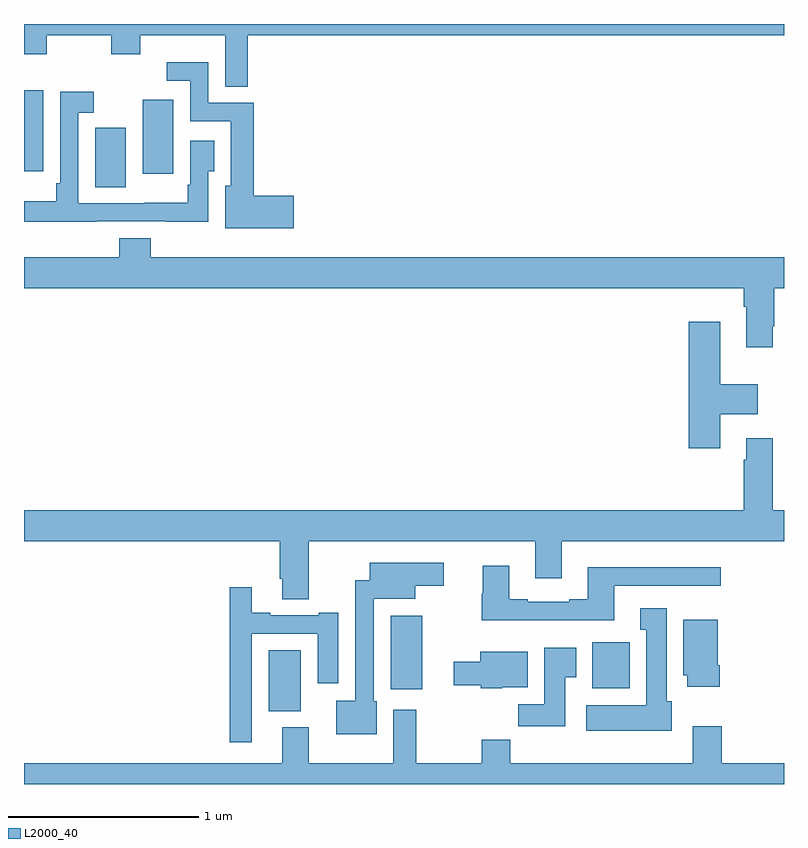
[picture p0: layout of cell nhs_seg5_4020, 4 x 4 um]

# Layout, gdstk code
import gdstk
lib = gdstk.Library(unit=1e-6, precision=1e-09)
def R(c, l, rs):  # rectangles x0, y0, x1, y1
    for r in rs: c.add(gdstk.rectangle(r[:2], r[2:], *l))
def P(c, l, *ps):  # polygons
    for p in ps: c.add(gdstk.Polygon(p, *l))
L2000_40 = (2000, 40)

nhs_seg5_4020 = lib.new_cell('nhs_seg5_4020')
R(nhs_seg5_4020, L2000_40, [(348.287,873.182,348.457,873.502), (348.929,873.299,349.096,873.685), (349.991,873.302,350.188,873.544), (347.375,875.941,347.536,876.252), (347.624,876.011,347.785,876.4), (347,876.024,347.101,876.451)])
P(nhs_seg5_4020, L2000_40, [(347,876.641),(347.121,876.641),(347.121,876.74),(347.458,876.74),(347.458,876.641),(347.613,876.641),(347.613,876.74),(348.059,876.74),(348.059,876.469),(348.178,876.469),(348.178,876.74),(351,876.74),(351,876.799),(347,876.799)],
  [(348.421,875.894),(348.208,875.894),(348.208,876.384),(347.97,876.384),(347.97,876.598),(347.751,876.598),(347.751,876.501),(347.874,876.501),(347.874,876.288),(348.089,876.288),(348.089,875.947),(348.059,875.947),(348.059,875.723),(348.421,875.723)],
  [(347.383,875.76),(347.749,875.76),(347.749,875.759),(347.97,875.759),(347.97,876.025),(348.001,876.025),(348.001,876.184),(347.874,876.184),(347.874,875.953),(347.862,875.953),(347.862,875.857),(347.632,875.857),(347.632,875.856),(347.286,875.856),(347.286,876.333),(347.368,876.333),(347.368,876.442),(347.19,876.442),(347.19,875.962),(347.17,875.962),(347.17,875.866),(347,875.866),(347,875.759),(347.383,875.759)],
  [(350.941,875.209),(350.949,875.209),(350.949,875.408),(351,875.408),(351,875.572),(347.666,875.572),(347.666,875.671),(347.501,875.671),(347.501,875.572),(347,875.572),(347,875.408),(350.789,875.408),(350.789,875.312),(350.801,875.312),(350.801,875.097),(350.941,875.097)],
  [(350.665,874.745),(350.863,874.745),(350.863,874.903),(350.665,874.903),(350.665,875.233),(350.498,875.233),(350.498,874.566),(350.665,874.566)],
  [(347,874.076),(348.347,874.076),(348.347,873.88),(348.359,873.88),(348.359,873.772),(348.499,873.772),(348.499,874.076),(349.691,874.076),(349.691,873.882),(349.831,873.882),(349.831,874.076),(351,874.076),(351,874.24),(350.941,874.24),(350.941,874.618),(350.801,874.618),(350.801,874.505),(350.789,874.505),(350.789,874.24),(347,874.24)],
  [(348.856,873.234),(348.84,873.234),(348.84,873.773),(349.06,873.773),(349.06,873.842),(349.21,873.842),(349.21,873.964),(348.821,873.964),(348.821,873.872),(348.744,873.872),(348.744,873.238),(348.644,873.238),(348.644,873.062),(348.856,873.062)],
  [(350.107,873.843),(350.668,873.843),(350.668,873.94),(349.967,873.94),(349.967,873.772),(349.871,873.772),(349.871,873.759),(349.651,873.759),(349.651,873.772),(349.555,873.772),(349.555,873.949),(349.415,873.949),(349.415,873.801),(349.408,873.801),(349.408,873.662),(350.107,873.662)],
  [(348.198,873.591),(348.545,873.591),(348.545,873.33),(348.655,873.33),(348.655,873.7),(348.551,873.7),(348.551,873.687),(348.295,873.687),(348.295,873.7),(348.199,873.7),(348.199,873.835),(348.082,873.835),(348.082,873.018),(348.198,873.018)],
  [(350.41,873.234),(350.383,873.234),(350.383,873.724),(350.243,873.724),(350.243,873.611),(350.276,873.611),(350.276,873.214),(349.959,873.214),(349.959,873.08),(350.41,873.08)],
  [(350.663,873.424),(350.65,873.424),(350.65,873.664),(350.471,873.664),(350.471,873.372),(350.492,873.372),(350.492,873.312),(350.663,873.312)],
  [(349.849,873.361),(349.906,873.361),(349.906,873.517),(349.739,873.517),(349.739,873.22),(349.6,873.22),(349.6,873.102),(349.849,873.102)],
  [(349.518,873.308),(349.651,873.308),(349.651,873.496),(349.4,873.496),(349.4,873.442),(349.263,873.442),(349.263,873.32),(349.404,873.32),(349.404,873.302),(349.518,873.302)],
  [(349.408,873.032),(349.408,872.908),(349.065,872.908),(349.065,873.19),(348.944,873.19),(348.944,872.908),(348.499,872.908),(348.499,873.097),(348.359,873.097),(348.359,872.908),(347,872.908),(347,872.799),(351,872.799),(351,872.908),(350.672,872.908),(350.672,873.103),(350.519,873.103),(350.519,872.908),(349.559,872.908),(349.559,873.032)])

lib.write_gds('nhs_seg5_4020.gds')
